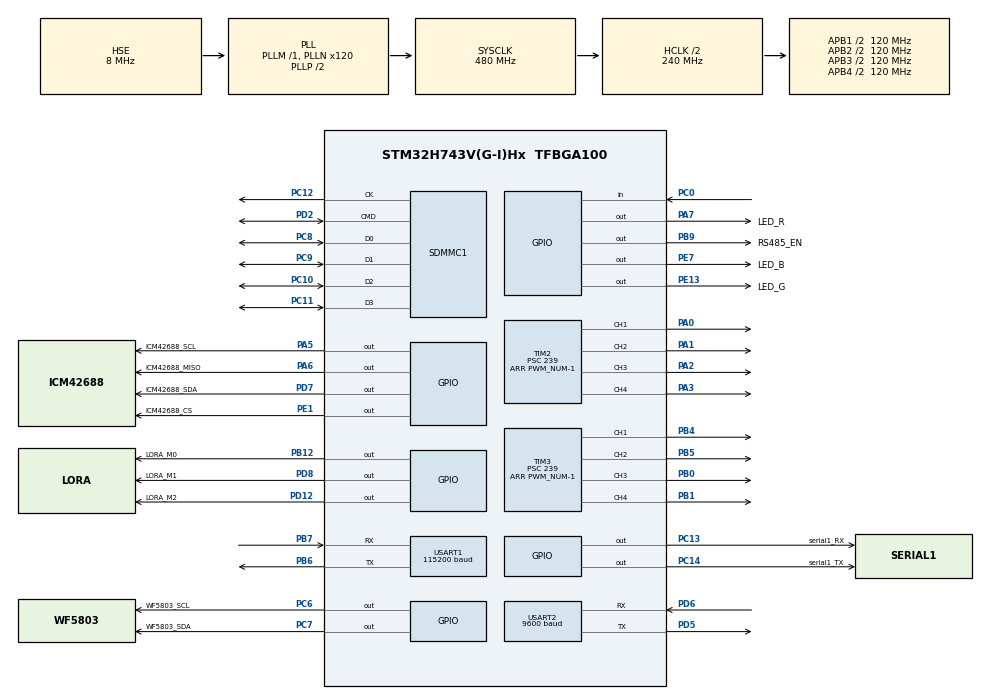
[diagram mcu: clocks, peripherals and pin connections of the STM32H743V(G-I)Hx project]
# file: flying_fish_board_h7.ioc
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Dma.Request0=USART2_RX
Dma.USART2_RX.0.Direction=DMA_PERIPH_TO_MEMORY
Dma.USART2_RX.0.EventEnable=DISABLE
Dma.USART2_RX.0.FIFOMode=DMA_FIFOMODE_DISABLE
Dma.USART2_RX.0.Instance=DMA1_Stream0
Dma.USART2_RX.0.MemDataAlignment=DMA_MDATAALIGN_BYTE
Dma.USART2_RX.0.MemInc=DMA_MINC_ENABLE
Dma.USART2_RX.0.Mode=DMA_CIRCULAR
Dma.USART2_RX.0.PeriphDataAlignment=DMA_PDATAALIGN_BYTE
Dma.USART2_RX.0.PeriphInc=DMA_PINC_DISABLE
Dma.USART2_RX.0.Polarity=HAL_DMAMUX_REQ_GEN_RISING
Dma.USART2_RX.0.Priority=DMA_PRIORITY_HIGH
Dma.USART2_RX.0.RequestNumber=1
Dma.USART2_RX.0.SignalID=NONE
Dma.USART2_RX.0.SyncEnable=DISABLE
Dma.USART2_RX.0.SyncPolarity=HAL_DMAMUX_SYNC_NO_EVENT
Dma.USART2_RX.0.SyncRequestNumber=1
Dma.USART2_RX.0.SyncSignalID=NONE
FATFS.BSP.number=1
FATFS._CODE_PAGE=936
FATFS._FS_EXFAT=1
FATFS._USE_LFN=2
FATFS0.BSP.STBoard=false
FATFS0.BSP.api=Unknown
FATFS0.BSP.instance=PC0
FATFS0.BSP.ip=GPIO
FATFS0.BSP.mode=Input
FATFS0.BSP.name=Detect_SDIO
FATFS0.BSP.solution=PC0
Mcu.Family=STM32H7
Mcu.Name=STM32H743V(G-I)Hx
Mcu.Package=TFBGA100
Mcu.UserConstants=PWM_NUM,20000
NVIC.DMA1_Stream0_IRQn=true\:0\:0\:true\:false\:true\:false\:true\:true
NVIC.PriorityGroup=NVIC_PRIORITYGROUP_4
NVIC.TIM15_IRQn=true\:13\:0\:true\:false\:true\:true\:true\:true
NVIC.TIM16_IRQn=true\:3\:0\:true\:false\:true\:true\:true\:true
NVIC.TIM8_BRK_TIM12_IRQn=true\:0\:0\:false\:false\:true\:true\:true\:true
NVIC.USART1_IRQn=true\:4\:0\:true\:false\:true\:true\:true\:true
NVIC.USART2_IRQn=true\:0\:0\:false\:false\:true\:true\:true\:true
PA0.Signal=S_TIM2_CH1
PA1.Signal=S_TIM2_CH2
PA13\ (JTMS/SWDIO).Mode=Serial_Wire
PA13\ (JTMS/SWDIO).Signal=DEBUG_JTMS-SWDIO
PA14\ (JTCK/SWCLK).Mode=Serial_Wire
PA14\ (JTCK/SWCLK).Signal=DEBUG_JTCK-SWCLK
PA2.Signal=S_TIM2_CH3
PA3.Signal=S_TIM2_CH4
PA5.GPIO_Label=ICM42688_SCL
PA5.GPIO_PuPd=GPIO_PULLUP
PA5.GPIO_Speed=GPIO_SPEED_FREQ_VERY_HIGH
PA5.PinState=GPIO_PIN_SET
PA5.Signal=GPIO_Output
PA6.GPIO_Label=ICM42688_MISO
PA6.GPIO_PuPd=GPIO_PULLDOWN
PA6.Signal=GPIO_Output
PA7.GPIO_Label=LED_R
PA7.PinState=GPIO_PIN_SET
PA7.Signal=GPIO_Output
PB0.Signal=S_TIM3_CH3
PB1.Signal=S_TIM3_CH4
PB12.GPIO_Label=LORA_M0
PB12.Signal=GPIO_Output
PB4\ (NJTRST).Signal=S_TIM3_CH1
PB5.Signal=S_TIM3_CH2
PB6.Mode=Asynchronous
PB6.Signal=USART1_TX
PB7.Mode=Asynchronous
PB7.Signal=USART1_RX
PB9.GPIO_Label=RS485_EN
PB9.GPIO_PuPd=GPIO_PULLDOWN
PB9.Signal=GPIO_Output
PC0.Signal=GPIO_Input
PC10.Mode=SD_4_bits_Wide_bus
PC10.Signal=SDMMC1_D2
PC11.Mode=SD_4_bits_Wide_bus
PC11.Signal=SDMMC1_D3
PC12.Mode=SD_4_bits_Wide_bus
PC12.Signal=SDMMC1_CK
PC13.GPIO_Label=serial1_RX
PC13.GPIO_PuPd=GPIO_PULLUP
PC13.Signal=GPIO_Output
PC14-OSC32_IN\ (OSC32_IN).GPIO_Label=serial1_TX
PC14-OSC32_IN\ (OSC32_IN).GPIO_PuPd=GPIO_PULLUP
PC14-OSC32_IN\ (OSC32_IN).Signal=GPIO_Output
PC6.GPIO_Label=WF5803_SCL
PC6.GPIO_PuPd=GPIO_PULLUP
PC6.GPIO_Speed=GPIO_SPEED_FREQ_VERY_HIGH
PC6.PinState=GPIO_PIN_SET
PC6.Signal=GPIO_Output
PC7.GPIO_Label=WF5803_SDA
PC7.GPIO_PuPd=GPIO_PULLUP
PC7.GPIO_Speed=GPIO_SPEED_FREQ_VERY_HIGH
PC7.PinState=GPIO_PIN_SET
PC7.Signal=GPIO_Output
PC8.Mode=SD_4_bits_Wide_bus
PC8.Signal=SDMMC1_D0
PC9.Mode=SD_4_bits_Wide_bus
PC9.Signal=SDMMC1_D1
PD12.GPIO_Label=LORA_M2
PD12.Signal=GPIO_Output
PD2.Mode=SD_4_bits_Wide_bus
PD2.Signal=SDMMC1_CMD
PD5.Mode=Asynchronous
PD5.Signal=USART2_TX
PD6.Mode=Asynchronous
PD6.Signal=USART2_RX
PD7.GPIO_Label=ICM42688_SDA
PD7.GPIO_PuPd=GPIO_PULLUP
PD7.GPIO_Speed=GPIO_SPEED_FREQ_VERY_HIGH
PD7.PinState=GPIO_PIN_SET
PD7.Signal=GPIO_Output
PD8.GPIO_Label=LORA_M1
PD8.Signal=GPIO_Output
PE1.GPIO_Label=ICM42688_CS
PE1.GPIO_PuPd=GPIO_PULLUP
PE1.PinState=GPIO_PIN_SET
PE1.Signal=GPIO_Output
PE13.GPIO_Label=LED_G
PE13.PinState=GPIO_PIN_SET
PE13.Signal=GPIO_Output
PE7.GPIO_Label=LED_B
PE7.PinState=GPIO_PIN_SET
PE7.Signal=GPIO_Output
PH0-OSC_IN\ (PH0).Mode=HSE-External-Oscillator
PH0-OSC_IN\ (PH0).Signal=RCC_OSC_IN
PH1-OSC_OUT\ (PH1).Mode=HSE-External-Oscillator
PH1-OSC_OUT\ (PH1).Signal=RCC_OSC_OUT
ProjectManager.HeapSize=0x200
ProjectManager.StackSize=0x400
ProjectManager.TargetToolchain=MDK-ARM V5.32
RCC.ADCFreq_Value=16125000
RCC.APB1Freq_Value=120000000
RCC.APB2Freq_Value=120000000
RCC.APB3Freq_Value=120000000
RCC.APB4Freq_Value=120000000
RCC.CortexFreq_Value=480000000
RCC.D1PPRE=RCC_APB3_DIV2
RCC.D2PPRE1=RCC_APB1_DIV2
RCC.D2PPRE2=RCC_APB2_DIV2
RCC.D3PPRE=RCC_APB4_DIV2
RCC.DIVM1=1
RCC.DIVN1=120
RCC.DIVQ1=4
RCC.HCLKFreq_Value=240000000
RCC.HPRE=RCC_HCLK_DIV2
RCC.HSE_VALUE=8000000
RCC.PLL2FRACN=0
RCC.PLL3FRACN=0
RCC.PLLFRACN=0
RCC.PLLSourceVirtual=RCC_PLLSOURCE_HSE
RCC.PWR_Regulator_Voltage_Scale=PWR_REGULATOR_VOLTAGE_SCALE0
RCC.SYSCLKFreq_VALUE=480000000
RCC.SYSCLKSource=RCC_SYSCLKSOURCE_PLLCLK
RCC.USBFreq_Value=240000000
SDMMC1.ClockDiv=8
SH.S_TIM2_CH1.0=TIM2_CH1,PWM Generation1 CH1
SH.S_TIM2_CH2.0=TIM2_CH2,PWM Generation2 CH2
SH.S_TIM2_CH3.0=TIM2_CH3,PWM Generation3 CH3
SH.S_TIM2_CH4.0=TIM2_CH4,PWM Generation4 CH4
SH.S_TIM3_CH1.0=TIM3_CH1,PWM Generation1 CH1
SH.S_TIM3_CH2.0=TIM3_CH2,PWM Generation2 CH2
SH.S_TIM3_CH3.0=TIM3_CH3,PWM Generation3 CH3
SH.S_TIM3_CH4.0=TIM3_CH4,PWM Generation4 CH4
STMicroelectronics.X-CUBE-ALGOBUILD.1.4.0.LibraryCcDSPOoLibraryJjDSPOoLibrary=true
TIM12.Period=1000-1
TIM12.Prescaler=24000-1
TIM15.AutoReloadPreload=TIM_AUTORELOAD_PRELOAD_ENABLE
TIM15.Period=9999
TIM15.Prescaler=23999
TIM16.AutoReloadPreload=TIM_AUTORELOAD_PRELOAD_ENABLE
TIM16.Period=9999
TIM16.Prescaler=1200-1
TIM2.Channel-PWM\ Generation1\ CH1=TIM_CHANNEL_1
TIM2.Channel-PWM\ Generation2\ CH2=TIM_CHANNEL_2
TIM2.Channel-PWM\ Generation3\ CH3=TIM_CHANNEL_3
TIM2.Channel-PWM\ Generation4\ CH4=TIM_CHANNEL_4
TIM2.Period=PWM_NUM-1
TIM2.Prescaler=239
TIM3.Channel-PWM\ Generation1\ CH1=TIM_CHANNEL_1
TIM3.Channel-PWM\ Generation2\ CH2=TIM_CHANNEL_2
TIM3.Channel-PWM\ Generation3\ CH3=TIM_CHANNEL_3
TIM3.Channel-PWM\ Generation4\ CH4=TIM_CHANNEL_4
TIM3.Period=PWM_NUM-1
TIM3.Prescaler=239
USART1.BaudRate=115200
USART1.VirtualMode-Asynchronous=VM_ASYNC
USART2.BaudRate=9600
USART2.OverrunDisableParam=ADVFEATURE_OVERRUN_DISABLE
USART2.SwapParam=ADVFEATURE_SWAP_ENABLE
USART2.VirtualMode-Asynchronous=VM_ASYNC
VP_FATFS_VS_SDIO.Mode=SDIO
VP_STMicroelectronics.X-CUBE-ALGOBUILD_VS_DSPOoLibraryJjLibrary_1.4.0_1.4.0.Mode=DSPOoLibraryJjLibrary
VP_TIM12_VS_ClockSourceINT.Mode=Internal
VP_TIM15_VS_ClockSourceINT.Mode=Internal
VP_TIM16_VS_ClockSourceINT.Mode=Enable_Timer
VP_TIM2_VS_ClockSourceINT.Mode=Internal
VP_TIM3_VS_ClockSourceINT.Mode=Internal
board=custom

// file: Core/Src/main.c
/* USER CODE BEGIN Header */
/**
  ******************************************************************************
  * @file           : main.c
  * @brief          : Main program body
  ******************************************************************************
  * @attention
  *
  * <h2><center>&copy; Copyright (c) 2024 STMicroelectronics.
  * All rights reserved.</center></h2>
  *
  * This software component is licensed by ST under BSD 3-Clause license,
  * the "License"; You may not use this file except in compliance with the
  * License. You may obtain a copy of the License at:
  *                        opensource.org/licenses/BSD-3-Clause
  *
  ******************************************************************************
  */
/* USER CODE END Header */
#include "main.h"
#include "dma.h"
#include "fatfs.h"
#include "sdmmc.h"
#include "tim.h"
#include "usart.h"
#include "gpio.h"

/* USER CODE BEGIN Includes */
//#include "sim_SPItwo.h"
#include "icm_42688.h"
#include "wf5803.h"
#include "wit_imu.h"
//#include "ms5837_dev.h"
#include "pwm_util.h"
#include "motor_dev.h"
#include "lora.h"
#include "SDCard.h"
/* USER CODE END Includes */

/* USER CODE BEGIN PV */
union float2u8 conv1;//Left Thrust
union float2u8 conv2;//Right Thrust
union float2u8 conv3;//Front and Back Thrust
union float2u8 conv4;//Front and Back Servo

uint8_t txbuff_rf200[16];
uint8_t rxbuff_e70[18];
/* USER CODE END PV */

void SystemClock_Config(void);

int main(void)
{

  /* MCU Configuration--------------------------------------------------------*/

  /* Reset of all peripherals, Initializes the Flash interface and the Systick. */
  HAL_Init();

  /* Configure the system clock */
  SystemClock_Config();

  /* Initialize all configured peripherals */
  MX_GPIO_Init();
  MX_DMA_Init();
  MX_TIM15_Init();
  MX_USART2_UART_Init();
  MX_TIM16_Init();

  MX_TIM2_Init();
  MX_TIM3_Init();
  MX_SDMMC1_SD_Init();
  MX_FATFS_Init();
  MX_TIM12_Init();
  /* USER CODE BEGIN 2 */
	icm42688_init();
	wf5803_init();
	//ms5837_init(&sensor,MS5837_30BA,freshwater);
	RXEN_485;
	E70_433MT14S_init();

	//SDCardInit();

	HAL_TIM_PWM_Start(&htim2, TIM_CHANNEL_1);
	HAL_TIM_PWM_Start(&htim2, TIM_CHANNEL_2);
	HAL_TIM_PWM_Start(&htim2, TIM_CHANNEL_3);
	HAL_TIM_PWM_Start(&htim2, TIM_CHANNEL_4);
	HAL_TIM_PWM_Start(&htim3, TIM_CHANNEL_1);
	HAL_TIM_PWM_Start(&htim3, TIM_CHANNEL_2);
	HAL_TIM_PWM_Start(&htim3, TIM_CHANNEL_3);
	HAL_TIM_PWM_Start(&htim3, TIM_CHANNEL_4);

	/*    Initialization    */
	//uint8_t ret = ms5837_init(&sensor,MS5837_30BA,freshwater);

	InitPWM(&propeller_pwm[0],&htim3,TIM_CHANNEL_1);
	__HAL_TIM_SET_COMPARE(&htim3,TIM_CHANNEL_1,1500);
	InitPWM(&propeller_pwm[1],&htim3,TIM_CHANNEL_2);
	__HAL_TIM_SET_COMPARE(&htim3,TIM_CHANNEL_2,1500);
	InitPWM(&propeller_pwm[2],&htim3,TIM_CHANNEL_3);
	__HAL_TIM_SET_COMPARE(&htim3,TIM_CHANNEL_3,1500);
	InitPWM(&propeller_pwm[3],&htim3,TIM_CHANNEL_4);
	__HAL_TIM_SET_COMPARE(&htim3,TIM_CHANNEL_4,1500);
	HAL_Delay(5000);

	InitPWM(&servo_pwm[0],&htim2,TIM_CHANNEL_1);
	InitPWM(&servo_pwm[1],&htim2,TIM_CHANNEL_2);
	InitPWM(&servo_pwm[2],&htim2,TIM_CHANNEL_3);
	InitPWM(&servo_pwm[3],&htim2,TIM_CHANNEL_4);
	//参数启动
	propeller_init(&auv_propeller[0],PROPELLER_LEFT);
	propeller_init(&auv_propeller[1],PROPELLER_RIGHT);
	propeller_init(&auv_propeller[2],PROPELLER_FORWARD);
	propeller_init(&auv_propeller[3],PROPELLER_BACK);

	servo_init(&auv_servo[0],SERVO_LEFT);
	servo_init(&auv_servo[1],SERVO_RIGHT);
	servo_init(&auv_servo[2],SERVO_FORWARD);
	servo_init(&auv_servo[3],SERVO_BACK);
	is_record = 0;
	is_record_flash=0;
	(&auv_remote)->status = NO_MOOD;

	HAL_Delay(100);
	MX_USART1_UART_Init();
	wit_imu_init(&IMU2);
	HAL_UART_Receive_IT(&huart1, &aRxBuffer_1, 1);
	HAL_TIM_Base_Start_IT(&htim15);
	HAL_TIM_Base_Start_IT(&htim16);
	HAL_TIM_Base_Start_IT(&htim12);
	//Serial test!!!
//	conv1.to_int = 300;
//	conv2.to_int = 600;
//	conv3.to_int = 900;
//	conv4.to_int = 1200;
//
//	txbuff[0] = 0x55;
//	txbuff[1] = conv1.buf[0];
//	txbuff[2] = conv1.buf[1];
//	txbuff[3] = conv2.buf[0];
//	txbuff[4] = conv2.buf[1];
//	txbuff[5] = conv3.buf[0];
//	txbuff[6] = conv3.buf[1];
//	txbuff[7] = conv4.buf[0];
//	txbuff[8] = conv4.buf[1];
//	txbuff[9] = 0x77;

  /* USER CODE END 2 */

  /* Infinite loop */
  /* USER CODE BEGIN WHILE */
  while (1)
  {
		/*Deleted for a submerge reason*/
//		if(telecontrol.dial[3] == 1){
//			//is_record = 1;
//		LED_G_CHANGE;
//			if(has_storaged == 0){
//				is_record = 1;
//			}
//		}
//		if(is_storage)
//		{
//			SDCardWrite();
//			is_storage = 0;
//			is_record = 0;
//			has_storaged = 1;
		//HAL_GPIO_WritePin(serial1_TX_GPIO_Port, serial1_TX_Pin, GPIO_PIN_RESET);
//		HAL_Delay(10);
//		HAL_GPIO_WritePin(serial1_TX_GPIO_Port, serial1_TX_Pin, GPIO_PIN_RESET);
//		HAL_Delay(10);
//
//		SDCardCmd();

		/*write for a submerge reason*/
//		if(telecontrol.dial[0] == 0 && telecontrol.dial[1] == 0){
//			(&auv_remote)->status = NO_MOOD;
//		}
//
//		if(telecontrol.rocker[4] >= 0x00F0){
//			if(is_record_flash == 0){
//				sd_cmd = RECORD_DATA;
//			}
//
//		}
//		}else if(telecontrol.dial[3] == 1){
//			sd_cmd = SENT_DATA;
//		}

		/*a single test about reading sd card data*/

//		if(telecontrol.dial[2] == 1){
//			sd_cmd = SD_READ_DATA;
//		}else{
//			sd_cmd = SD_NO_COMMAND;
//		}

		//sd_cmd = SD_NO_COMMAND;

//		HAL_Delay(2);
    /* USER CODE END WHILE */

  }
}

void SystemClock_Config(void)
{
  RCC_OscInitTypeDef RCC_OscInitStruct = {0};
  RCC_ClkInitTypeDef RCC_ClkInitStruct = {0};

  /** Supply configuration update enable
  */
  HAL_PWREx_ConfigSupply(PWR_LDO_SUPPLY);
  /** Configure the main internal regulator output voltage
  */
  __HAL_PWR_VOLTAGESCALING_CONFIG(PWR_REGULATOR_VOLTAGE_SCALE0);

  while(!__HAL_PWR_GET_FLAG(PWR_FLAG_VOSRDY)) {}
  /** Initializes the RCC Oscillators according to the specified parameters
  * in the RCC_OscInitTypeDef structure.
  */
  RCC_OscInitStruct.OscillatorType = RCC_OSCILLATORTYPE_HSE;
  RCC_OscInitStruct.HSEState = RCC_HSE_ON;
  RCC_OscInitStruct.PLL.PLLState = RCC_PLL_ON;
  RCC_OscInitStruct.PLL.PLLSource = RCC_PLLSOURCE_HSE;
  RCC_OscInitStruct.PLL.PLLM = 1;
  RCC_OscInitStruct.PLL.PLLN = 120;
  RCC_OscInitStruct.PLL.PLLP = 2;
  RCC_OscInitStruct.PLL.PLLQ = 4;
  RCC_OscInitStruct.PLL.PLLR = 2;
  RCC_OscInitStruct.PLL.PLLRGE = RCC_PLL1VCIRANGE_3;
  RCC_OscInitStruct.PLL.PLLVCOSEL = RCC_PLL1VCOWIDE;
  RCC_OscInitStruct.PLL.PLLFRACN = 0;
  if (HAL_RCC_OscConfig(&RCC_OscInitStruct) != HAL_OK)
  {
    Error_Handler();
  }
  /** Initializes the CPU, AHB and APB buses clocks
  */
  RCC_ClkInitStruct.ClockType = RCC_CLOCKTYPE_HCLK|RCC_CLOCKTYPE_SYSCLK
                              |RCC_CLOCKTYPE_PCLK1|RCC_CLOCKTYPE_PCLK2
                              |RCC_CLOCKTYPE_D3PCLK1|RCC_CLOCKTYPE_D1PCLK1;
  RCC_ClkInitStruct.SYSCLKSource = RCC_SYSCLKSOURCE_PLLCLK;
  RCC_ClkInitStruct.SYSCLKDivider = RCC_SYSCLK_DIV1;
  RCC_ClkInitStruct.AHBCLKDivider = RCC_HCLK_DIV2;
  RCC_ClkInitStruct.APB3CLKDivider = RCC_APB3_DIV2;
  RCC_ClkInitStruct.APB1CLKDivider = RCC_APB1_DIV2;
  RCC_ClkInitStruct.APB2CLKDivider = RCC_APB2_DIV2;
  RCC_ClkInitStruct.APB4CLKDivider = RCC_APB4_DIV2;

  if (HAL_RCC_ClockConfig(&RCC_ClkInitStruct, FLASH_LATENCY_4) != HAL_OK)
  {
    Error_Handler();
  }
}

/* USER CODE BEGIN 4 */
int fputc(int ch, FILE *f){
    HAL_UART_Transmit(&huart2, (uint8_t *)&ch, 1, 1000);
    return ch;
}
/* USER CODE END 4 */

void Error_Handler(void)
{
  __disable_irq();
  while (1)
  {
  }
}

/************************ (C) COPYRIGHT STMicroelectronics *****END OF FILE****/
